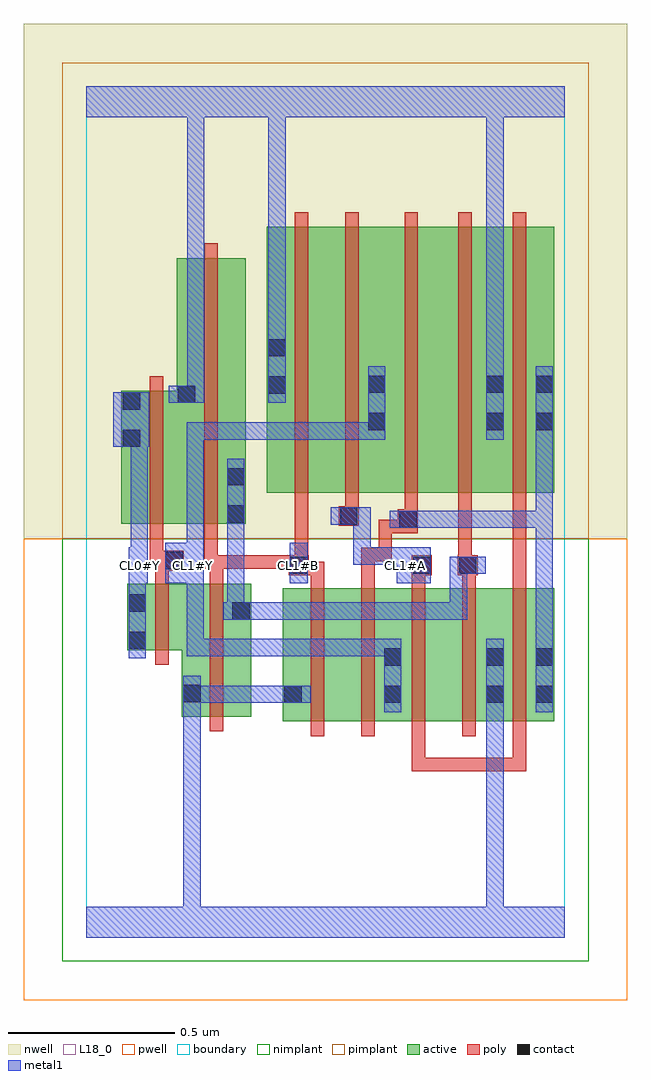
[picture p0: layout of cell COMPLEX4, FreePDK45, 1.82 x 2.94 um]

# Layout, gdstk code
import gdstk
lib = gdstk.Library(unit=1e-6, precision=1e-09)
def R(c, l, rs):  # rectangles x0, y0, x1, y1
    for r in rs: c.add(gdstk.rectangle(r[:2], r[2:], *l))
def A(c, l, x, y, w, h, nx, ny, dx, dy):  # array of equal rectangles
    R(c, l, [(x+i*dx, y+j*dy, x+i*dx+w, y+j*dy+h) for i in range(nx) for j in range(ny)])
active = (1, 0)
pwell = (2, 0)
nwell = (3, 0)
nimplant = (4, 0)
pimplant = (5, 0)
poly = (9, 0)
contact = (10, 0)
metal1 = (11, 0)
L18_0 = (18, 0)
boundary = (235, 0)

complex4 = lib.new_cell('COMPLEX4')
R(complex4, active, [(0.592,0.65,0.772,1.05), (0.592,0.65,0.652,0.948), (0.772,0.65,0.952,1.05), (0.892,0.65,0.952,1.05), (0.892,0.65,1.076,1.05), (1.076,0.65,1.26,1.05), (1.2,0.65,1.26,1.05), (1.2,0.65,1.408,1.05), (1.348,0.65,1.408,1.05), (0.288,0.664,0.496,1.064), (0.288,0.704,0.348,0.956), (0.436,0.756,0.496,1.064), (0.124,0.864,0.348,1.064), (0.124,0.864,0.184,1.064), (0.106,1.244,0.166,1.644), (0.106,1.244,0.332,1.644), (0.272,1.244,0.48,2.044), (0.42,1.244,0.48,2.044), (0.544,1.338,0.724,2.138), (0.724,1.338,0.904,2.138), (0.844,1.338,1.06,2.138), (1.06,1.338,1.26,2.138), (1.2,1.338,1.408,2.138), (1.348,1.338,1.408,2.044), (1.2,1.366,1.26,2.138), (0.844,1.39,0.904,2.138), (0.272,1.48,0.332,2.044), (0.544,1.48,0.604,2.138)])
R(complex4, pwell, [(-0.188,-0.188,1.628,1.2)])
R(complex4, nwell, [(-0.188,1.2,1.628,2.748)])
R(complex4, nimplant, [(-0.072,-0.072,1.512,1.2)])
R(complex4, pimplant, [(-0.072,1.2,1.512,2.632)])
A(complex4, poly, 0.676, 0.606, 0.04, 0.488, 5, 1, 0.152, 0)
A(complex4, poly, 0.98, 1.054, 0.04, 0.076, 3, 1, 0.152, 0)
R(complex4, poly, [(0.98,0.5,1.02,0.54), (0.98,0.5,1.02,0.646), (0.98,0.5,1.218,0.54), (1.178,0.5,1.218,0.54), (1.178,0.5,1.218,0.54), (1.178,0.5,1.218,0.54), (1.178,0.5,1.324,0.54), (1.284,0.5,1.324,0.54), (1.284,0.5,1.324,0.54), (1.284,0.5,1.324,0.54), (1.284,0.5,1.324,0.646), (0.372,0.62,0.412,1.108), (0.208,0.82,0.248,1.108), (0.676,1.054,0.716,1.13), (0.828,1.054,0.868,1.172), (0.208,1.068,0.248,1.144), (0.372,1.068,0.412,1.15), (0.61,1.09,0.67,1.15), (0.63,1.09,0.67,1.13), (0.63,1.09,0.716,1.13), (0.98,1.09,1.04,1.15), (1.118,1.09,1.178,1.15), (1.284,1.09,1.324,1.334), (1.284,1.09,1.324,1.13), (1.284,1.09,1.324,1.13), (1.284,1.09,1.324,1.13), (0.208,1.104,0.294,1.164), (0.356,1.11,0.396,1.24), (0.356,1.11,0.412,1.15), (0.372,1.11,0.412,1.15), (0.372,1.11,0.412,1.15), (0.372,1.11,0.412,1.15), (0.372,1.11,0.412,1.15), (0.372,1.11,0.65,1.15), (0.61,1.11,0.65,1.15), (0.61,1.11,0.65,1.15), (0.628,1.11,0.668,1.334), (1.12,1.11,1.16,1.15), (1.12,1.11,1.16,1.15), (1.12,1.11,1.16,1.334), (0.192,1.124,0.248,1.164), (0.192,1.124,0.232,1.24), (0.208,1.124,0.248,1.164), (0.828,1.132,0.868,1.172), (0.828,1.132,0.92,1.172), (0.88,1.132,0.92,1.172), (0.88,1.132,0.92,1.256), (0.192,1.2,0.232,1.688), (0.356,1.2,0.396,2.088), (0.88,1.216,0.92,1.256), (0.88,1.216,0.978,1.256), (0.938,1.216,0.998,1.288), (0.76,1.238,0.82,1.298), (0.958,1.248,0.998,1.334), (0.78,1.258,0.82,1.334), (0.628,1.294,0.668,2.182), (0.78,1.294,0.82,2.182), (0.958,1.294,0.998,2.182), (1.12,1.294,1.16,2.182), (1.284,1.294,1.324,2.182)])
R(complex4, contact, [(0.596,0.706,0.648,0.758), (0.896,0.706,0.948,0.758), (1.204,0.706,1.256,0.758), (1.352,0.706,1.404,0.758), (0.292,0.708,0.344,0.76), (0.896,0.818,0.948,0.87), (1.204,0.818,1.256,0.87), (1.352,0.818,1.404,0.87), (0.128,0.868,0.18,0.92), (0.44,0.956,0.492,1.008), (0.128,0.98,0.18,1.032), (0.614,1.094,0.666,1.146), (0.984,1.094,1.036,1.146), (1.122,1.094,1.174,1.146), (0.238,1.108,0.29,1.16), (0.942,1.232,0.994,1.284), (0.764,1.242,0.816,1.294), (0.424,1.248,0.476,1.3), (0.424,1.36,0.476,1.412), (0.11,1.476,0.162,1.528), (0.848,1.526,0.9,1.578), (1.204,1.526,1.256,1.578), (1.352,1.526,1.404,1.578), (0.11,1.588,0.162,1.64), (0.276,1.608,0.328,1.66), (0.548,1.636,0.6,1.688), (0.848,1.638,0.9,1.69), (1.204,1.638,1.256,1.69), (1.352,1.638,1.404,1.69), (0.548,1.748,0.6,1.8)])
A(complex4, metal1, 0.584, 0.956, 0.052, 0.052, 3, 1, 0.11, 0)
R(complex4, metal1, [(0,0,1.44,0.092), (0.292,0.04,0.344,0.092), (0.292,0.04,0.344,0.092), (0.292,0.04,0.344,0.092), (0.292,0.04,0.344,0.092), (0.292,0.04,0.344,0.092), (0.292,0.04,0.344,0.092), (0.292,0.04,0.344,0.092), (0.292,0.04,0.344,0.092), (0.292,0.04,0.344,0.092), (0.292,0.04,0.344,0.092), (0.292,0.04,0.344,0.732), (1.204,0.04,1.256,0.092), (1.204,0.04,1.256,0.092), (1.204,0.04,1.256,0.092), (1.204,0.04,1.256,0.092), (1.204,0.04,1.256,0.092), (1.204,0.04,1.256,0.092), (1.204,0.04,1.256,0.092), (1.204,0.04,1.256,0.092), (1.204,0.04,1.256,0.092), (1.204,0.04,1.256,0.092), (1.204,0.04,1.256,0.73), (0.896,0.678,0.948,0.898), (1.204,0.678,1.256,0.898), (1.204,0.678,1.256,0.73), (1.204,0.678,1.256,0.73), (1.352,0.678,1.404,0.898), (0.292,0.68,0.344,0.732), (0.292,0.68,0.344,0.732), (0.292,0.68,0.344,0.788), (0.292,0.706,0.464,0.758), (0.412,0.706,0.464,0.758), (0.412,0.706,0.464,0.758), (0.412,0.706,0.464,0.758), (0.412,0.706,0.62,0.758), (0.568,0.706,0.676,0.758), (0.128,0.84,0.18,1.06), (0.302,0.846,0.354,0.898), (0.302,0.846,0.354,0.898), (0.302,0.846,0.354,0.898), (0.302,0.846,0.464,0.898), (0.302,0.846,0.354,1.118), (0.412,0.846,0.464,0.898), (0.412,0.846,0.464,0.898), (0.412,0.846,0.464,0.898), (0.412,0.846,0.636,0.898), (0.584,0.846,0.636,0.898), (0.584,0.846,0.636,0.898), (0.584,0.846,0.636,0.898), (0.584,0.846,0.746,0.898), (0.694,0.846,0.746,0.898), (0.694,0.846,0.776,0.898), (0.724,0.846,0.776,0.898), (0.724,0.846,0.948,0.898), (1.352,0.846,1.404,1.284), (1.352,0.846,1.404,0.898), (1.352,0.846,1.404,0.898), (0.412,0.956,0.52,1.008), (0.424,0.956,0.476,1.008), (0.424,0.956,0.476,1.008), (0.424,0.956,0.476,1.008), (0.424,0.956,0.476,1.008), (0.424,0.956,0.476,1.272), (0.468,0.956,0.636,1.008), (0.584,0.956,0.636,1.008), (0.584,0.956,0.636,1.008), (0.584,0.956,0.746,1.008), (0.694,0.956,0.856,1.008), (0.804,0.956,0.856,1.008), (0.804,0.956,0.856,1.008), (0.804,0.956,1.036,1.008), (0.984,0.956,1.036,1.008), (0.984,0.956,1.146,1.008), (1.094,0.956,1.146,1.008), (1.094,0.956,1.146,1.146), (0.128,1.008,0.18,1.118), (0.128,1.066,0.186,1.174), (0.238,1.066,0.346,1.188), (0.294,1.066,0.354,1.118), (0.302,1.066,0.354,1.118), (0.302,1.066,0.354,1.118), (0.302,1.066,0.354,1.118), (0.302,1.066,0.354,1.118), (0.302,1.066,0.354,1.118), (0.302,1.066,0.354,1.55), (0.612,1.066,0.666,1.188), (0.934,1.066,1.036,1.174), (1.094,1.094,1.146,1.146), (1.094,1.094,1.146,1.146), (1.094,1.094,1.202,1.146), (0.134,1.122,0.186,1.528), (0.804,1.122,0.856,1.174), (0.804,1.122,0.986,1.174), (0.804,1.122,0.856,1.294), (0.424,1.22,0.476,1.44), (0.914,1.232,1.022,1.284), (0.97,1.232,1.024,1.284), (0.972,1.232,1.024,1.284), (0.972,1.232,1.146,1.284), (1.094,1.232,1.146,1.284), (1.094,1.232,1.294,1.284), (1.242,1.232,1.294,1.284), (1.242,1.232,1.404,1.284), (1.352,1.232,1.404,1.55), (1.352,1.232,1.404,1.284), (1.352,1.232,1.404,1.284), (1.352,1.232,1.404,1.284), (0.736,1.242,0.844,1.294), (0.792,1.242,0.856,1.294), (0.804,1.242,0.856,1.294), (0.082,1.476,0.19,1.64), (0.134,1.476,0.186,1.528), (0.134,1.476,0.186,1.528), (0.302,1.498,0.354,1.55), (0.302,1.498,0.466,1.55), (0.414,1.498,0.466,1.55), (0.414,1.498,0.466,1.55), (0.414,1.498,0.466,1.55), (0.414,1.498,0.636,1.55), (0.584,1.498,0.636,1.55), (0.584,1.498,0.636,1.55), (0.584,1.498,0.636,1.55), (0.584,1.498,0.636,1.55), (0.584,1.498,0.636,1.55), (0.584,1.498,0.746,1.55), (0.694,1.498,0.746,1.55), (0.694,1.498,0.746,1.55), (0.694,1.498,0.746,1.55), (0.694,1.498,0.9,1.55), (0.848,1.498,0.9,1.718), (1.204,1.498,1.256,1.718), (1.352,1.498,1.404,1.718), (0.248,1.608,0.356,1.66), (0.304,1.608,0.356,1.66), (0.304,1.608,0.356,1.66), (0.304,1.608,0.356,1.66), (0.304,1.608,0.356,1.66), (0.304,1.608,0.356,1.66), (0.304,1.608,0.356,1.66), (0.304,1.608,0.356,2.52), (0.548,1.608,0.6,1.828), (1.204,1.666,1.256,1.718), (1.204,1.666,1.256,1.718), (1.204,1.666,1.256,1.718), (1.204,1.666,1.256,1.718), (1.204,1.666,1.256,2.52), (0.548,1.776,0.6,1.828), (0.548,1.776,0.6,1.828), (0.548,1.776,0.6,1.828), (0.548,1.776,0.6,1.828), (0.548,1.776,0.6,1.828), (0.548,1.776,0.6,1.828), (0.548,1.776,0.6,1.828), (0.548,1.776,0.6,1.828), (0.548,1.776,0.6,2.52), (0,2.468,1.44,2.56), (0.304,2.468,0.356,2.52), (0.304,2.468,0.356,2.52), (1.204,2.468,1.256,2.52), (1.204,2.468,1.256,2.52), (1.204,2.468,1.256,2.52), (1.204,2.468,1.256,2.52)])
A(complex4, L18_0, 0.294, 1.094, 0.052, 0.052, 3, 1, 0.32, 0)
R(complex4, L18_0, [(0,0,1.44,0.092), (0.292,0.04,0.344,0.092), (0.292,0.04,0.344,0.092), (0.292,0.04,0.344,0.092), (0.292,0.04,0.344,0.092), (0.292,0.04,0.344,0.092), (0.292,0.04,0.344,0.092), (0.292,0.04,0.344,0.092), (0.292,0.04,0.344,0.092), (0.292,0.04,0.344,0.092), (0.292,0.04,0.344,0.092), (0.292,0.04,0.344,0.732), (1.204,0.04,1.256,0.092), (1.204,0.04,1.256,0.092), (1.204,0.04,1.256,0.092), (1.204,0.04,1.256,0.092), (1.204,0.04,1.256,0.092), (1.204,0.04,1.256,0.092), (1.204,0.04,1.256,0.092), (1.204,0.04,1.256,0.092), (1.204,0.04,1.256,0.092), (1.204,0.04,1.256,0.092), (1.204,0.04,1.256,0.73), (0.896,0.678,0.948,0.898), (1.204,0.678,1.256,0.898), (1.204,0.678,1.256,0.73), (1.204,0.678,1.256,0.73), (0.292,0.68,0.344,0.732), (0.292,0.68,0.344,0.732), (0.292,0.68,0.344,0.788), (0.292,0.706,0.464,0.758), (0.412,0.706,0.464,0.758), (0.412,0.706,0.464,0.758), (0.412,0.706,0.464,0.758), (0.412,0.706,0.62,0.758), (0.568,0.706,0.676,0.758), (0.128,0.84,0.18,1.06), (0.302,0.846,0.354,0.898), (0.302,0.846,0.354,0.898), (0.302,0.846,0.354,0.898), (0.302,0.846,0.354,1.118), (0.302,0.846,0.464,0.898), (0.412,0.846,0.464,0.898), (0.412,0.846,0.464,0.898), (0.412,0.846,0.464,0.898), (0.412,0.846,0.636,0.898), (0.584,0.846,0.636,0.898), (0.584,0.846,0.636,0.898), (0.584,0.846,0.636,0.898), (0.584,0.846,0.746,0.898), (0.694,0.846,0.746,0.898), (0.694,0.846,0.776,0.898), (0.724,0.846,0.776,0.898), (0.724,0.846,0.948,0.898), (0.128,1.008,0.18,1.118), (0.128,1.066,0.186,1.174), (0.238,1.066,0.346,1.188), (0.294,1.066,0.354,1.118), (0.302,1.066,0.354,1.118), (0.302,1.066,0.354,1.118), (0.302,1.066,0.354,1.118), (0.302,1.066,0.354,1.118), (0.302,1.066,0.354,1.118), (0.302,1.066,0.354,1.55), (0.612,1.066,0.666,1.188), (0.934,1.066,1.036,1.174), (0.134,1.094,0.186,1.146), (0.134,1.122,0.186,1.528), (0.804,1.122,0.856,1.174), (0.804,1.122,0.856,1.294), (0.804,1.122,0.986,1.174), (0.736,1.242,0.844,1.294), (0.792,1.242,0.856,1.294), (0.804,1.242,0.856,1.294), (0.082,1.476,0.19,1.64), (0.134,1.476,0.186,1.528), (0.134,1.476,0.186,1.528), (0.302,1.498,0.354,1.55), (0.302,1.498,0.466,1.55), (0.414,1.498,0.466,1.55), (0.414,1.498,0.466,1.55), (0.414,1.498,0.466,1.55), (0.414,1.498,0.636,1.55), (0.584,1.498,0.636,1.55), (0.584,1.498,0.636,1.55), (0.584,1.498,0.636,1.55), (0.584,1.498,0.636,1.55), (0.584,1.498,0.636,1.55), (0.584,1.498,0.746,1.55), (0.694,1.498,0.746,1.55), (0.694,1.498,0.746,1.55), (0.694,1.498,0.746,1.55), (0.694,1.498,0.9,1.55), (0.848,1.498,0.9,1.718), (1.204,1.498,1.256,1.718), (0.248,1.608,0.356,1.66), (0.304,1.608,0.356,1.66), (0.304,1.608,0.356,1.66), (0.304,1.608,0.356,1.66), (0.304,1.608,0.356,1.66), (0.304,1.608,0.356,1.66), (0.304,1.608,0.356,1.66), (0.304,1.608,0.356,2.52), (0.548,1.608,0.6,1.828), (1.204,1.666,1.256,1.718), (1.204,1.666,1.256,1.718), (1.204,1.666,1.256,1.718), (1.204,1.666,1.256,1.718), (1.204,1.666,1.256,2.52), (0.548,1.776,0.6,1.828), (0.548,1.776,0.6,1.828), (0.548,1.776,0.6,1.828), (0.548,1.776,0.6,1.828), (0.548,1.776,0.6,1.828), (0.548,1.776,0.6,1.828), (0.548,1.776,0.6,1.828), (0.548,1.776,0.6,1.828), (0.548,1.776,0.6,2.52), (0,2.468,1.44,2.56), (0.304,2.468,0.356,2.52), (0.304,2.468,0.356,2.52), (1.204,2.468,1.256,2.52), (1.204,2.468,1.256,2.52), (1.204,2.468,1.256,2.52), (1.204,2.468,1.256,2.52)])
R(complex4, boundary, [(0,0,1.44,2.56)])
complex4.add(gdstk.Label('CL0#Y', (0.16,1.12), layer=11, texttype=0))
complex4.add(gdstk.Label('CL1#A', (0.96,1.12), layer=11, texttype=0))
complex4.add(gdstk.Label('CL1#B', (0.64,1.12), layer=11, texttype=0))
complex4.add(gdstk.Label('CL1#Y', (0.32,1.12), layer=11, texttype=0))

lib.write_gds('COMPLEX4.gds')
